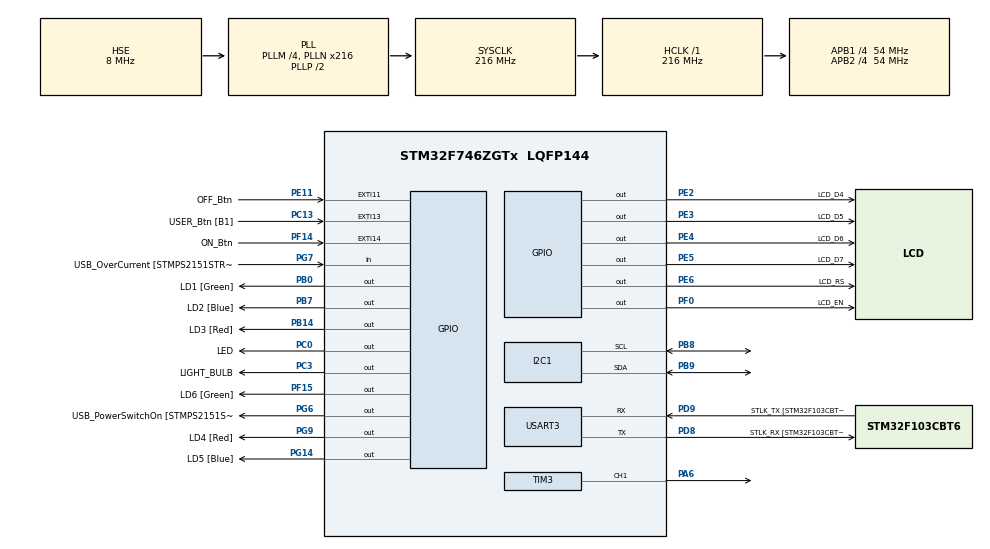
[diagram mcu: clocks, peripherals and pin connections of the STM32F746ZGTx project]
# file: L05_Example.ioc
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ARM.CMSIS.5.7.0.CMSISJjCORE=true
ARM.CMSIS.5.7.0.CMSISJjDSP=Library
I2C1.Timing=0x20404768
Mcu.Family=STM32F7
Mcu.Name=STM32F746ZGTx
Mcu.Package=LQFP144
NVIC.PriorityGroup=NVIC_PRIORITYGROUP_4
NVIC.TIM3_IRQn=true\:0\:0\:false\:false\:true\:true\:true\:true
NVIC.TIM7_IRQn=true\:0\:0\:false\:false\:true\:true\:true\:true
NVIC.USART3_IRQn=true\:0\:0\:false\:false\:true\:true\:true\:true
PA1.GPIO_Label=RMII_REF_CLK [LAN8742A-CZ-TR_REFCLK0]
PA1.Signal=ETH_REF_CLK
PA10.GPIO_Label=USB_ID
PA10.Signal=USB_OTG_FS_ID
PA11.GPIO_Label=USB_DM
PA11.Signal=USB_OTG_FS_DM
PA12.GPIO_Label=USB_DP
PA12.Signal=USB_OTG_FS_DP
PA13.GPIO_Label=TMS
PA13.Mode=Serial_Wire
PA13.Signal=SYS_JTMS-SWDIO
PA14.GPIO_Label=TCK
PA14.Mode=Serial_Wire
PA14.Signal=SYS_JTCK-SWCLK
PA2.GPIO_Label=RMII_MDIO [LAN8742A-CZ-TR_MDIO]
PA2.Signal=ETH_MDIO
PA3.GPIO_PuPd=GPIO_PULLDOWN
PA3.Signal=S_TIM9_CH2
PA6.Signal=S_TIM3_CH1
PA7.GPIO_Label=RMII_CRS_DV [LAN8742A-CZ-TR_CRS_DV]
PA7.Signal=ETH_CRS_DV
PA8.GPIO_Label=USB_SOF [TP1]
PA8.Signal=USB_OTG_FS_SOF
PA9.GPIO_Label=USB_VBUS
PA9.Signal=USB_OTG_FS_VBUS
PB0.GPIO_Label=LD1 [Green]
PB0.Signal=GPIO_Output
PB13.GPIO_Label=RMII_TXD1 [LAN8742A-CZ-TR_TXD1]
PB13.Signal=ETH_TXD1
PB14.GPIO_Label=LD3 [Red]
PB14.Signal=GPIO_Output
PB3.GPIO_Label=SW0
PB3.Signal=SYS_JTDO-SWO
PB7.GPIO_Label=LD2 [Blue]
PB7.Signal=GPIO_Output
PB8.Mode=I2C
PB8.Signal=I2C1_SCL
PB9.Mode=I2C
PB9.Signal=I2C1_SDA
PC0.GPIO_Label=LED
PC0.Signal=GPIO_Output
PC1.GPIO_Label=RMII_MDC [LAN8742A-CZ-TR_MDC]
PC1.Signal=ETH_MDC
PC13.GPIO_Label=USER_Btn [B1]
PC13.Signal=GPXTI13
PC14/OSC32_IN.Mode=LSE-External-Oscillator
PC14/OSC32_IN.Signal=RCC_OSC32_IN
PC15/OSC32_OUT.Mode=LSE-External-Oscillator
PC15/OSC32_OUT.Signal=RCC_OSC32_OUT
PC3.GPIO_Label=LIGHT_BULB
PC3.Signal=GPIO_Output
PC4.GPIO_Label=RMII_RXD0 [LAN8742A-CZ-TR_RXD0]
PC4.Signal=ETH_RXD0
PC5.GPIO_Label=RMII_RXD1 [LAN8742A-CZ-TR_RXD1]
PC5.Signal=ETH_RXD1
PD8.GPIO_Label=STLK_RX [STM32F103CBT6_PA3]
PD8.GPIO_PuPd=GPIO_PULLUP
PD8.Mode=Asynchronous
PD8.Signal=USART3_TX
PD9.GPIO_Label=STLK_TX [STM32F103CBT6_PA2]
PD9.GPIO_PuPd=GPIO_PULLUP
PD9.Mode=Asynchronous
PD9.Signal=USART3_RX
PE11.GPIO_Label=OFF_Btn
PE11.GPIO_PuPd=GPIO_PULLDOWN
PE11.Signal=GPXTI11
PE2.GPIO_Label=LCD_D4
PE2.Signal=GPIO_Output
PE3.GPIO_Label=LCD_D5
PE3.Signal=GPIO_Output
PE4.GPIO_Label=LCD_D6
PE4.Signal=GPIO_Output
PE5.GPIO_Label=LCD_D7
PE5.Signal=GPIO_Output
PE6.GPIO_Label=LCD_RS
PE6.Signal=GPIO_Output
PF0.GPIO_Label=LCD_EN
PF0.Signal=GPIO_Output
PF14.GPIO_Label=ON_Btn
PF14.GPIO_ModeDefaultEXTI=GPIO_MODE_IT_FALLING
PF14.GPIO_PuPd=GPIO_PULLUP
PF14.Signal=GPXTI14
PF15.GPIO_Label=LD6 [Green]
PF15.Signal=GPIO_Output
PG11.GPIO_Label=RMII_TX_EN [LAN8742A-CZ-TR_TXEN]
PG11.Signal=ETH_TX_EN
PG13.GPIO_Label=RMII_TXD0 [LAN8742A-CZ-TR_TXD0]
PG13.Signal=ETH_TXD0
PG14.GPIO_Label=LD5 [Blue]
PG14.Signal=GPIO_Output
PG6.GPIO_Label=USB_PowerSwitchOn [STMPS2151STR_EN]
PG6.Signal=GPIO_Output
PG7.GPIO_Label=USB_OverCurrent [STMPS2151STR_FAULT]
PG7.Signal=GPIO_Input
PG9.GPIO_Label=LD4 [Red]
PG9.Signal=GPIO_Output
PH0/OSC_IN.GPIO_Label=MCO [STM32F103CBT6_PA8]
PH0/OSC_IN.Mode=HSE-External-Clock-Source
PH0/OSC_IN.Signal=RCC_OSC_IN
PH1/OSC_OUT.Mode=HSE-External-Clock-Source
PH1/OSC_OUT.Signal=RCC_OSC_OUT
ProjectManager.HeapSize=0x200
ProjectManager.StackSize=0x400
ProjectManager.TargetToolchain=STM32CubeIDE
RCC.48MHZClocksFreq_Value=24000000
RCC.AHBFreq_Value=216000000
RCC.APB1CLKDivider=RCC_HCLK_DIV4
RCC.APB1Freq_Value=54000000
RCC.APB1TimFreq_Value=108000000
RCC.APB2CLKDivider=RCC_HCLK_DIV4
RCC.APB2Freq_Value=54000000
RCC.APB2TimFreq_Value=108000000
RCC.CortexFreq_Value=216000000
RCC.HCLKFreq_Value=216000000
RCC.HSE_VALUE=8000000
RCC.HSI_VALUE=16000000
RCC.PLLM=4
RCC.PLLMUL=RCC_PLL_MUL9
RCC.PLLN=216
RCC.PLLQ=3
RCC.PLLSourceVirtual=RCC_PLLSOURCE_HSE
RCC.PRESCALERUSB=RCC_USBCLKSOURCE_PLL_DIV1_5
RCC.SYSCLKFreq_VALUE=216000000
RCC.SYSCLKSource=RCC_SYSCLKSOURCE_PLLCLK
RCC.SYSCLKSourceVirtual=RCC_SYSCLKSOURCE_PLLCLK
RCC.USBFreq_Value=144000000
RCC.VCOOutputFreq_Value=432000000
SH.S_TIM3_CH1.0=TIM3_CH1,PWM Generation1 CH1
SH.S_TIM9_CH2.0=TIM9_CH2
TIM1.Period=999
TIM1.Prescaler=108-1
TIM3.Channel-PWM\ Generation1\ CH1=TIM_CHANNEL_1
TIM7.Period=19999
TIM7.Prescaler=1079
TIM9.Period=999
TIM9.Prescaler=107
USART3.VirtualMode-Asynchronous=VM_ASYNC
VP_ARM.CMSIS_VS_CMSISJjCORE_5.4.0_5.7.0.Mode=CMSISJjCORE
VP_ARM.CMSIS_VS_CMSISJjDSP_1.8.0_5.7.0.Mode=CMSISJjDSP
VP_TIM1_VS_ClockSourceINT.Mode=Internal
VP_TIM3_VS_ClockSourceINT.Mode=Internal
VP_TIM7_VS_ClockSourceINT.Mode=Enable_Timer
VP_TIM9_VS_ClockSourceINT.Mode=Internal
board=NUCLEO-F746ZG

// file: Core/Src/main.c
/* USER CODE BEGIN Header */
/**
  ******************************************************************************
  * @file           : main.c
  * @brief          : Main program body
  ******************************************************************************
  * @attention
  *
  * Copyright (c) 2023 STMicroelectronics.
  * All rights reserved.
  *
  * This software is licensed under terms that can be found in the LICENSE file
  * in the root directory of this software component.
  * If no LICENSE file comes with this software, it is provided AS-IS.
  *
  ******************************************************************************
  */
/* USER CODE END Header */
#include "main.h"
#include "i2c.h"
#include "tim.h"
#include "usart.h"
#include "gpio.h"

/* USER CODE BEGIN Includes */
#include <stdio.h>
#include <stdlib.h>
#include "bh1750_config.h"
#include "bulb.h"
#include "led_config.h"
#include "lcd.h"
#include "arm_math.h"
#include "pid_controller_config.h"

/* USER CODE END Includes */

/* USER CODE BEGIN PV */
float Illuminance_lux = 0.0f;
unsigned int Illuminance_kilo_lux_Int = 0;
float LCD_Illuminance_lux = 0;
int lux_ref = 0;
char buffer[9];
char tx_buffer_received[4];
Lcd_HandleTypeDef lcd;
float duty_pid;
float duty_p;
int* tab;
int user_reference;
int led_check;
int cnt =0;
int8_t calibration=1;
uint32_t pulseWidth;
uint32_t totalPeriod;
float dutyCycle;
/* USER CODE END PV */

void SystemClock_Config(void);

/* USER CODE BEGIN 0 */
/**
  * @brief  Period elapsed callback in non-blocking mode
  * @param  htim TIM handle
  * @retval None
  */
void HAL_TIM_PeriodElapsedCallback(TIM_HandleTypeDef *htim)
{
  if(htim == &htim7)
  {
    static unsigned int cnt = 0;
    cnt++;
    Illuminance_lux = BH1750_ReadIlluminance_lux(&hbh1750);
    Illuminance_kilo_lux_Int = Illuminance_lux * 1000.0f;

    duty_pid = PID_GetOutput(&hpid1, lux_ref, Illuminance_lux);  // [%]
    duty_p = duty_pid;
    if(duty_pid > 99)
    {
      duty_pid = 99;
    }

    int duty_pid_int = duty_pid;
    if(calibration==0){

      if(lux_ref*1000>tab[2]){
        Bulb_State(1); //OFF Bulb
      }
      else{
        Bulb_State(0);
      }

      LED_PWM_WriteDuty(&hld1,duty_pid);

    }

    uint8_t tx_buffer[64];
    int tx_msg_len = sprintf((char*)tx_buffer, " %5u.%03u %d %d \n", Illuminance_kilo_lux_Int / 1000, Illuminance_kilo_lux_Int % 1000,lux_ref, duty_pid_int );
    HAL_UART_Transmit(&huart3, tx_buffer, tx_msg_len, 100);

    if(cnt == 5)
    {
      cnt = 0;
      LCD_Illuminance_lux = Illuminance_kilo_lux_Int;
      gcvt(LCD_Illuminance_lux,9,buffer); //Przepisz wartość do buffera
    }

  }

}

void HAL_UART_RxCpltCallback(UART_HandleTypeDef *huart)
{
if(huart == &huart3)
{
user_reference = strtol((char*)&tx_buffer_received, 0, 10);
lux_ref = user_reference;
}
}

/* USER CODE END 0 */

int main(void)
{

  /* MCU Configuration--------------------------------------------------------*/

  /* Reset of all peripherals, Initializes the Flash interface and the Systick. */
  HAL_Init();

  /* Configure the system clock */
  SystemClock_Config();

  /* Initialize all configured peripherals */
  MX_GPIO_Init();
  MX_USART3_UART_Init();
  MX_I2C1_Init();
  MX_TIM9_Init();
  MX_TIM7_Init();
  MX_TIM3_Init();
  MX_TIM1_Init();
  /* USER CODE BEGIN 2 */

  float Illuminance_lux_min = 0.0f;
  float Illuminance_lux_max = 0.0f;

  int size = 4;

  BH1750_Init(&hbh1750);
  HAL_TIM_Base_Start_IT(&htim7);
  HAL_TIM_Base_Start(&htim1);
  //HAL_TIM_PWM_Start(&htim3,TIM_CHANNEL_1);
  LED_PWM_Init(&hld1);

  //Bulb_State(1);

  //Swtórz granice światła
  tab = Light_Boundries();
  calibration=0;
  free(tab);

  //wait for counter to reach the us input in the parameter

  //Ustaw LCD
  // Lcd_PortType ports[] = { D4_GPIO_Port, D5_GPIO_Port, D6_GPIO_Port, D7_GPIO_Port };
   Lcd_PortType ports[] = { GPIOE, GPIOE, GPIOE, GPIOE };
   // Lcd_PinType pins[] = {D4_Pin, D5_Pin, D6_Pin, D7_Pin};
   Lcd_PinType pins[] = {GPIO_PIN_2, GPIO_PIN_3, GPIO_PIN_4, GPIO_PIN_5};

   // Lcd_create(ports, pins, RS_GPIO_Port, RS_Pin, EN_GPIO_Port, EN_Pin, LCD_4_BIT_MODE);
   lcd = Lcd_create(ports, pins, GPIOE, GPIO_PIN_6, GPIOF, GPIO_PIN_0, LCD_4_BIT_MODE);

   //Wyświetlanie napisu
   Lcd_cursor(&lcd, 0,0);
              Lcd_string(&lcd, "Pomiar w lux ");

  /* USER CODE END 2 */

  /* Infinite loop */
  /* USER CODE BEGIN WHILE */
  while (1)
  {
   // __HAL_TIM_SET_COMPARE(&htim3, TIM_CHANNEL_1,1000);
    /* USER CODE END WHILE */

    /* USER CODE BEGIN 3 */
    HAL_UART_Receive_IT(&huart3 , tx_buffer_received , 4 );

     pulseWidth = HAL_TIM_ReadCapturedValue(&htim3, TIM_CHANNEL_1);
     totalPeriod = __HAL_TIM_GET_AUTORELOAD(&htim3); // Assuming timer configured in upcounting mode
    dutyCycle = ((float)pulseWidth / (float)totalPeriod) * 100.0f;
   // timer_check =  __HAL_TIM_GET_COUNTER(&htim1);

    //LCD
        //Wypisz wartość lux
        Lcd_cursor(&lcd, 1,7);
                  Lcd_string(&lcd, buffer);
                  //usun poprzednie znaki
        for (int i = 0; i < 9; ++i) {
                            if (buffer[i] == NULL) {
                              Lcd_cursor(&lcd, 1,7 + i);
                                Lcd_string(&lcd, "    ");
                                continue;
                            }
                        }

  }
  /* USER CODE END 3 */
}

void SystemClock_Config(void)
{
  RCC_OscInitTypeDef RCC_OscInitStruct = {0};
  RCC_ClkInitTypeDef RCC_ClkInitStruct = {0};

  /** Configure LSE Drive Capability
  */
  HAL_PWR_EnableBkUpAccess();

  /** Configure the main internal regulator output voltage
  */
  __HAL_RCC_PWR_CLK_ENABLE();
  __HAL_PWR_VOLTAGESCALING_CONFIG(PWR_REGULATOR_VOLTAGE_SCALE1);

  /** Initializes the RCC Oscillators according to the specified parameters
  * in the RCC_OscInitTypeDef structure.
  */
  RCC_OscInitStruct.OscillatorType = RCC_OSCILLATORTYPE_HSE;
  RCC_OscInitStruct.HSEState = RCC_HSE_BYPASS;
  RCC_OscInitStruct.PLL.PLLState = RCC_PLL_ON;
  RCC_OscInitStruct.PLL.PLLSource = RCC_PLLSOURCE_HSE;
  RCC_OscInitStruct.PLL.PLLM = 4;
  RCC_OscInitStruct.PLL.PLLN = 216;
  RCC_OscInitStruct.PLL.PLLP = RCC_PLLP_DIV2;
  RCC_OscInitStruct.PLL.PLLQ = 3;
  if (HAL_RCC_OscConfig(&RCC_OscInitStruct) != HAL_OK)
  {
    Error_Handler();
  }

  /** Activate the Over-Drive mode
  */
  if (HAL_PWREx_EnableOverDrive() != HAL_OK)
  {
    Error_Handler();
  }

  /** Initializes the CPU, AHB and APB buses clocks
  */
  RCC_ClkInitStruct.ClockType = RCC_CLOCKTYPE_HCLK|RCC_CLOCKTYPE_SYSCLK
                              |RCC_CLOCKTYPE_PCLK1|RCC_CLOCKTYPE_PCLK2;
  RCC_ClkInitStruct.SYSCLKSource = RCC_SYSCLKSOURCE_PLLCLK;
  RCC_ClkInitStruct.AHBCLKDivider = RCC_SYSCLK_DIV1;
  RCC_ClkInitStruct.APB1CLKDivider = RCC_HCLK_DIV4;
  RCC_ClkInitStruct.APB2CLKDivider = RCC_HCLK_DIV4;

  if (HAL_RCC_ClockConfig(&RCC_ClkInitStruct, FLASH_LATENCY_7) != HAL_OK)
  {
    Error_Handler();
  }
}

void Error_Handler(void)
{
  __disable_irq();
  while (1)
  {
  }
}
